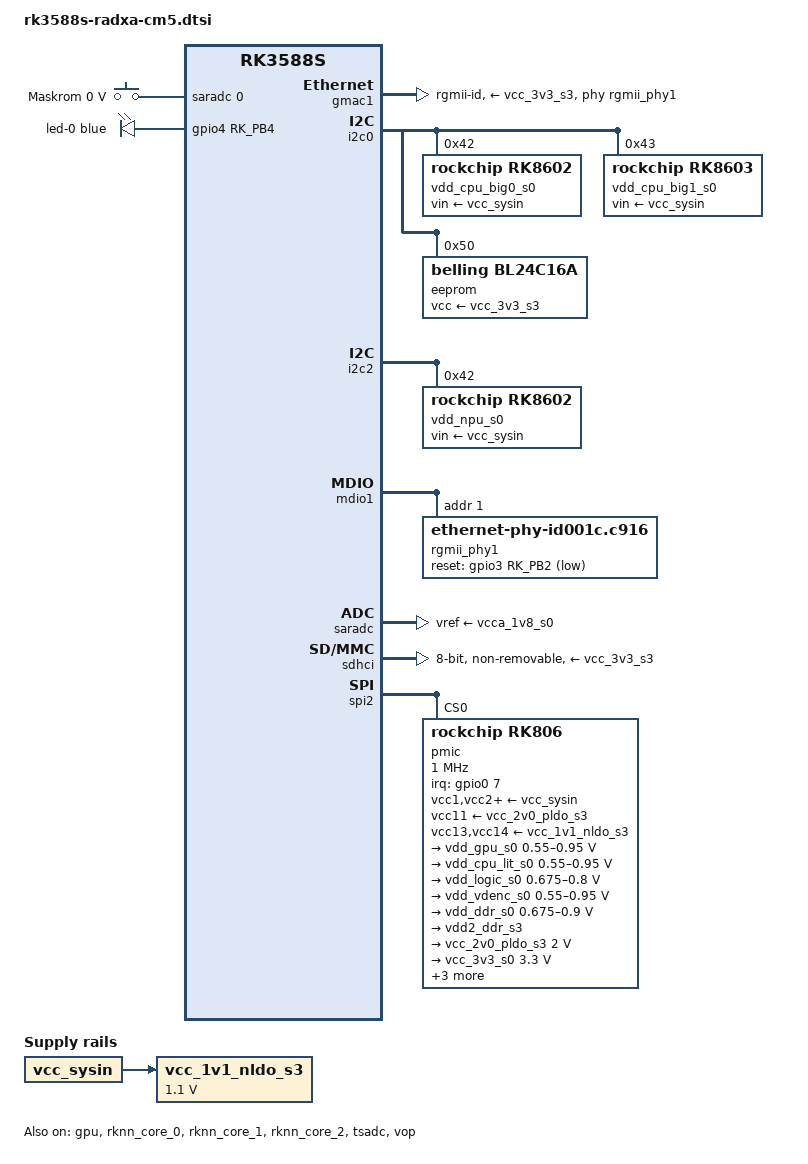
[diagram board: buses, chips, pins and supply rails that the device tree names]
// SPDX-License-Identifier: (GPL-2.0+ OR MIT)
/*
 * Copyright (c) 2025 Radxa Computer (Shenzhen) Co., Ltd.
 * Copyright (c) 2025 Joseph Kogut <joseph.kogut@gmail.com>
 */

/*
 * CM5 schematic
 * https://dl.radxa.com/cm5/v2210/radxa_cm5_v2210_schematic.pdf
 */

/dts-v1/;

#include <dt-bindings/gpio/gpio.h>
#include <dt-bindings/input/input.h>
#include <dt-bindings/leds/common.h>
#include <dt-bindings/pinctrl/rockchip.h>
#include "rk3588s.dtsi"

/ {
	compatible = "radxa,cm5", "rockchip,rk3588s";

	aliases {
		ethernet0 = &gmac1;
		mmc0 = &sdhci;
	};

	keys-0 {
		compatible = "adc-keys";
		io-channels = <&saradc 0>;
		io-channel-names = "buttons";
		keyup-threshold-microvolt = <1800000>;
		poll-interval = <100>;

		button-0 {
			label = "Maskrom";
			linux,code = <KEY_SETUP>;
			press-threshold-microvolt = <0>;
		};
	};

	leds-0 {
		compatible = "gpio-leds";

		led-0 {
			color = <LED_COLOR_ID_BLUE>;
			default-state = "on";
			function = LED_FUNCTION_STATUS;
			gpios = <&gpio4 RK_PB4 GPIO_ACTIVE_HIGH>;
			linux,default-trigger = "heartbeat";
			pinctrl-names = "default";
			pinctrl-0 = <&gpio4_b4>;
		};
	};

	vcc_1v1_nldo_s3: regulator-1v1 {
		compatible = "regulator-fixed";
		regulator-name = "vcc_1v1_nldo_s3";
		regulator-always-on;
		regulator-boot-on;
		regulator-min-microvolt = <1100000>;
		regulator-max-microvolt = <1100000>;
		vin-supply = <&vcc_sysin>;
	};
};

&cpu_b0 {
	cpu-supply = <&vdd_cpu_big0_s0>;
};

&cpu_b1 {
	cpu-supply = <&vdd_cpu_big0_s0>;
};

&cpu_b2 {
	cpu-supply = <&vdd_cpu_big1_s0>;
};

&cpu_b3 {
	cpu-supply = <&vdd_cpu_big1_s0>;
};

&cpu_l0 {
	cpu-supply = <&vdd_cpu_lit_s0>;
};

&cpu_l1 {
	cpu-supply = <&vdd_cpu_lit_s0>;
};

&cpu_l2 {
	cpu-supply = <&vdd_cpu_lit_s0>;
};

&cpu_l3 {
	cpu-supply = <&vdd_cpu_lit_s0>;
};

&gmac1 {
	clock_in_out = "output";
	phy-handle = <&rgmii_phy1>;
	phy-mode = "rgmii-id";
	phy-supply = <&vcc_3v3_s3>;
	pinctrl-0 = <&gmac1_miim
		     &gmac1_tx_bus2
		     &gmac1_rx_bus2
		     &gmac1_rgmii_clk
		     &gmac1_rgmii_bus
		     &gmac1_clkinout>;
	pinctrl-names = "default";
};

&gpu {
	mali-supply = <&vdd_gpu_s0>;
	status = "okay";
};

&i2c0 {
	pinctrl-names = "default";
	pinctrl-0 = <&i2c0m2_xfer>;
	status = "okay";

	vdd_cpu_big0_s0: regulator@42 {
		compatible = "rockchip,rk8602";
		reg = <0x42>;
		fcs,suspend-voltage-selector = <1>;
		regulator-name = "vdd_cpu_big0_s0";
		regulator-always-on;
		regulator-boot-on;
		regulator-min-microvolt = <550000>;
		regulator-max-microvolt = <1050000>;
		regulator-ramp-delay = <2300>;
		vin-supply = <&vcc_sysin>;

		regulator-state-mem {
			regulator-off-in-suspend;
		};
	};

	vdd_cpu_big1_s0: regulator@43 {
		compatible = "rockchip,rk8603", "rockchip,rk8602";
		reg = <0x43>;
		fcs,suspend-voltage-selector = <1>;
		regulator-name = "vdd_cpu_big1_s0";
		regulator-always-on;
		regulator-boot-on;
		regulator-min-microvolt = <550000>;
		regulator-max-microvolt = <1050000>;
		regulator-ramp-delay = <2300>;
		vin-supply = <&vcc_sysin>;

		regulator-state-mem {
			regulator-off-in-suspend;
		};
	};

	eeprom@50 {
		compatible = "belling,bl24c16a", "atmel,24c16";
		reg = <0x50>;
		pagesize = <16>;
		read-only;
		vcc-supply = <&vcc_3v3_s3>;
	};
};

&i2c2 {
	status = "okay";

	vdd_npu_s0: regulator@42 {
		compatible = "rockchip,rk8602";
		reg = <0x42>;
		fcs,suspend-voltage-selector = <1>;
		regulator-name = "vdd_npu_s0";
		regulator-always-on;
		regulator-boot-on;
		regulator-min-microvolt = <550000>;
		regulator-max-microvolt = <950000>;
		regulator-ramp-delay = <2300>;
		vin-supply = <&vcc_sysin>;

		regulator-state-mem {
			regulator-off-in-suspend;
		};
	};
};

&mdio1 {
	rgmii_phy1: ethernet-phy@1 {
		compatible = "ethernet-phy-id001c.c916";
		reg = <1>;
		pinctrl-names = "default";
		pinctrl-0 = <&gmac1_rstn>;
		reset-assert-us = <20000>;
		reset-deassert-us = <100000>;
		reset-gpios = <&gpio3 RK_PB2 GPIO_ACTIVE_LOW>;
	};
};

&pd_gpu {
	domain-supply = <&vdd_gpu_s0>;
};

&pd_npu {
	domain-supply = <&vdd_npu_s0>;
};

&pinctrl {
	ethernet {
		gmac1_rstn: gmac1-rstn {
			rockchip,pins = <3 RK_PB2 RK_FUNC_GPIO &pcfg_pull_none>;
		};
	};

	leds {
		gpio4_b4: gpio4-b4 {
			rockchip,pins = <4 RK_PB4 RK_FUNC_GPIO &pcfg_pull_none>;
		};
	};
};

&rknn_core_0 {
	npu-supply = <&vdd_npu_s0>;
	sram-supply = <&vdd_npu_s0>;
	status = "okay";
};

&rknn_core_1 {
	npu-supply = <&vdd_npu_s0>;
	sram-supply = <&vdd_npu_s0>;
	status = "okay";
};

&rknn_core_2 {
	npu-supply = <&vdd_npu_s0>;
	sram-supply = <&vdd_npu_s0>;
	status = "okay";
};

&rknn_mmu_0 {
	status = "okay";
};

&rknn_mmu_1 {
	status = "okay";
};

&rknn_mmu_2 {
	status = "okay";
};

&saradc {
	vref-supply = <&vcca_1v8_s0>;
	status = "okay";
};

&sdhci {
	bus-width = <8>;
	cap-mmc-highspeed;
	mmc-hs400-1_8v;
	mmc-hs400-enhanced-strobe;
	no-sd;
	no-sdio;
	non-removable;
	vmmc-supply = <&vcc_3v3_s3>;
	vqmmc-supply = <&vcc_1v8_s3>;
	status = "okay";
};

&spi2 {
	assigned-clocks = <&cru CLK_SPI2>;
	assigned-clock-rates = <200000000>;
	num-cs = <1>;
	pinctrl-names = "default";
	pinctrl-0 = <&spi2m2_cs0 &spi2m2_pins>;
	status = "okay";

	pmic@0 {
		compatible = "rockchip,rk806";
		reg = <0>;
		gpio-controller;
		#gpio-cells = <2>;
		interrupt-parent = <&gpio0>;
		interrupts = <7 IRQ_TYPE_LEVEL_LOW>;
		pinctrl-names = "default";
		pinctrl-0 = <&pmic_pins>, <&rk806_dvs1_null>,
			    <&rk806_dvs2_null>, <&rk806_dvs3_null>;
		spi-max-frequency = <1000000>;
		system-power-controller;

		vcc1-supply = <&vcc_sysin>;
		vcc2-supply = <&vcc_sysin>;
		vcc3-supply = <&vcc_sysin>;
		vcc4-supply = <&vcc_sysin>;
		vcc5-supply = <&vcc_sysin>;
		vcc6-supply = <&vcc_sysin>;
		vcc7-supply = <&vcc_sysin>;
		vcc8-supply = <&vcc_sysin>;
		vcc9-supply = <&vcc_sysin>;
		vcc10-supply = <&vcc_sysin>;
		vcc11-supply = <&vcc_2v0_pldo_s3>;
		vcc12-supply = <&vcc_sysin>;
		vcc13-supply = <&vcc_1v1_nldo_s3>;
		vcc14-supply = <&vcc_1v1_nldo_s3>;
		vcca-supply = <&vcc_sysin>;

		rk806_dvs1_null: dvs1-null-pins {
			pins = "gpio_pwrctrl1";
			function = "pin_fun0";
		};

		rk806_dvs2_null: dvs2-null-pins {
			pins = "gpio_pwrctrl2";
			function = "pin_fun0";
		};

		rk806_dvs3_null: dvs3-null-pins {
			pins = "gpio_pwrctrl3";
			function = "pin_fun0";
		};

		regulators {
			vdd_gpu_s0: dcdc-reg1 {
				regulator-name = "vdd_gpu_s0";
				regulator-boot-on;
				regulator-min-microvolt = <550000>;
				regulator-max-microvolt = <950000>;
				regulator-ramp-delay = <12500>;
				regulator-enable-ramp-delay = <400>;

				regulator-state-mem {
					regulator-off-in-suspend;
				};
			};

			vdd_cpu_lit_s0: dcdc-reg2 {
				regulator-name = "vdd_cpu_lit_s0";
				regulator-always-on;
				regulator-boot-on;
				regulator-min-microvolt = <550000>;
				regulator-max-microvolt = <950000>;
				regulator-ramp-delay = <12500>;

				regulator-state-mem {
					regulator-off-in-suspend;
				};
			};

			vdd_logic_s0: dcdc-reg3 {
				regulator-name = "vdd_logic_s0";
				regulator-always-on;
				regulator-boot-on;
				regulator-min-microvolt = <675000>;
				regulator-max-microvolt = <800000>;
				regulator-ramp-delay = <12500>;

				regulator-state-mem {
					regulator-on-in-suspend;
					regulator-suspend-microvolt = <750000>;
				};
			};

			vdd_vdenc_s0: dcdc-reg4 {
				regulator-name = "vdd_vdenc_s0";
				regulator-always-on;
				regulator-boot-on;
				regulator-min-microvolt = <550000>;
				regulator-max-microvolt = <950000>;
				regulator-ramp-delay = <12500>;

				regulator-state-mem {
					regulator-off-in-suspend;
				};
			};

			vdd_ddr_s0: dcdc-reg5 {
				regulator-name = "vdd_ddr_s0";
				regulator-always-on;
				regulator-boot-on;
				regulator-min-microvolt = <675000>;
				regulator-max-microvolt = <900000>;
				regulator-ramp-delay = <12500>;

				regulator-state-mem {
					regulator-off-in-suspend;
					regulator-suspend-microvolt = <850000>;
				};
			};

			vdd2_ddr_s3: dcdc-reg6 {
				regulator-name = "vdd2_ddr_s3";
				regulator-always-on;
				regulator-boot-on;

				regulator-state-mem {
					regulator-on-in-suspend;
				};
			};

			vcc_2v0_pldo_s3: dcdc-reg7 {
				regulator-name = "vcc_2v0_pldo_s3";
				regulator-always-on;
				regulator-boot-on;
				regulator-min-microvolt = <2000000>;
				regulator-max-microvolt = <2000000>;

				regulator-state-mem {
					regulator-on-in-suspend;
					regulator-suspend-microvolt = <2000000>;
				};
			};

			vcc_3v3_s0: vcc_3v3_s3: dcdc-reg8 {
				regulator-name = "vcc_3v3_s3";
				regulator-always-on;
				regulator-boot-on;
				regulator-min-microvolt = <3300000>;
				regulator-max-microvolt = <3300000>;

				regulator-state-mem {
					regulator-on-in-suspend;
					regulator-suspend-microvolt = <3300000>;
				};
			};

			vddq_ddr_s0: dcdc-reg9 {
				regulator-name = "vddq_ddr_s0";
				regulator-always-on;
				regulator-boot-on;

				regulator-state-mem {
					regulator-off-in-suspend;
				};
			};

			vcc_1v8_s3: dcdc-reg10 {
				regulator-name = "vcc_1v8_s3";
				regulator-always-on;
				regulator-boot-on;
				regulator-min-microvolt = <1800000>;
				regulator-max-microvolt = <1800000>;

				regulator-state-mem {
					regulator-on-in-suspend;
					regulator-suspend-microvolt = <1800000>;
				};
			};

			vcc_1v8_s0: pldo-reg1 {
				regulator-name = "vcc_1v8_s0";
				regulator-always-on;
				regulator-boot-on;
				regulator-min-microvolt = <1800000>;
				regulator-max-microvolt = <1800000>;

				regulator-state-mem {
					regulator-on-in-suspend;
					regulator-suspend-microvolt = <1800000>;
				};
			};

			vcca_1v8_s0: pldo-reg2 {
				regulator-name = "vcca_1v8_s0";
				regulator-always-on;
				regulator-boot-on;
				regulator-min-microvolt = <1800000>;
				regulator-max-microvolt = <1800000>;

				regulator-state-mem {
					regulator-on-in-suspend;
					regulator-suspend-microvolt = <1800000>;
				};
			};

			vdda_1v2_s0: pldo-reg3 {
				regulator-name = "vdda_1v2_s0";
				regulator-always-on;
				regulator-boot-on;
				regulator-min-microvolt = <1200000>;
				regulator-max-microvolt = <1200000>;

				regulator-state-mem {
					regulator-off-in-suspend;
				};
			};

			vcca_3v3_s0: pldo-reg4 {
				regulator-name = "vcca_3v3_s0";
				regulator-always-on;
				regulator-boot-on;
				regulator-min-microvolt = <3300000>;
				regulator-max-microvolt = <3300000>;

				regulator-state-mem {
					regulator-on-in-suspend;
					regulator-suspend-microvolt = <3300000>;
				};
			};

			vccio_sd_s0: pldo-reg5 {
				regulator-name = "vccio_sd_s0";
				regulator-always-on;
				regulator-boot-on;
				regulator-min-microvolt = <1800000>;
				regulator-max-microvolt = <3300000>;

				regulator-state-mem {
					regulator-off-in-suspend;
				};
			};

			pldo-reg6 {
				regulator-name = "pldo_reg6";
				regulator-always-on;
				regulator-boot-on;
				regulator-min-microvolt = <1800000>;
				regulator-max-microvolt = <1800000>;

				regulator-state-mem {
					regulator-on-in-suspend;
					regulator-suspend-microvolt = <1800000>;
				};
			};

			vdd_0v75_s3: nldo-reg1 {
				regulator-name = "vdd_0v75_s3";
				regulator-always-on;
				regulator-boot-on;
				regulator-min-microvolt = <750000>;
				regulator-max-microvolt = <750000>;

				regulator-state-mem {
					regulator-on-in-suspend;
					regulator-suspend-microvolt = <750000>;
				};
			};

			vdda_ddr_pll_s0: nldo-reg2 {
				regulator-name = "vdda_ddr_pll_s0";
				regulator-always-on;
				regulator-boot-on;
				regulator-min-microvolt = <850000>;
				regulator-max-microvolt = <850000>;

				regulator-state-mem {
					regulator-on-in-suspend;
					regulator-suspend-microvolt = <850000>;
				};
			};

			vdda_0v75_s0: nldo-reg3 {
				regulator-name = "vdda_0v75_s0";
				regulator-always-on;
				regulator-boot-on;
				regulator-min-microvolt = <837500>;
				regulator-max-microvolt = <837500>;

				regulator-state-mem {
					regulator-on-in-suspend;
					regulator-suspend-microvolt = <750000>;
				};
			};

			vdda_0v85_s0: nldo-reg4 {
				regulator-name = "vdda_0v85_s0";
				regulator-always-on;
				regulator-boot-on;
				regulator-min-microvolt = <850000>;
				regulator-max-microvolt = <850000>;

				regulator-state-mem {
					regulator-off-in-suspend;
				};
			};

			hdmi_vdda0v85_s0: nldo-reg5 {
				regulator-name = "hdmi_vdda0v85_s0";
				regulator-always-on;
				regulator-boot-on;
				regulator-min-microvolt = <837500>;
				regulator-max-microvolt = <837500>;

				regulator-state-mem {
					regulator-off-in-suspend;
				};
			};
		};
	};
};

&tsadc {
	rockchip,hw-tshut-mode = <1>; /* tshut mode 0:CRU 1:GPIO */
	rockchip,hw-tshut-polarity = <0>; /* tshut polarity 0:LOW 1:HIGH */
	status = "okay";
};

&vop {
	status = "okay";
};

&vop_mmu {
	status = "okay";
};
